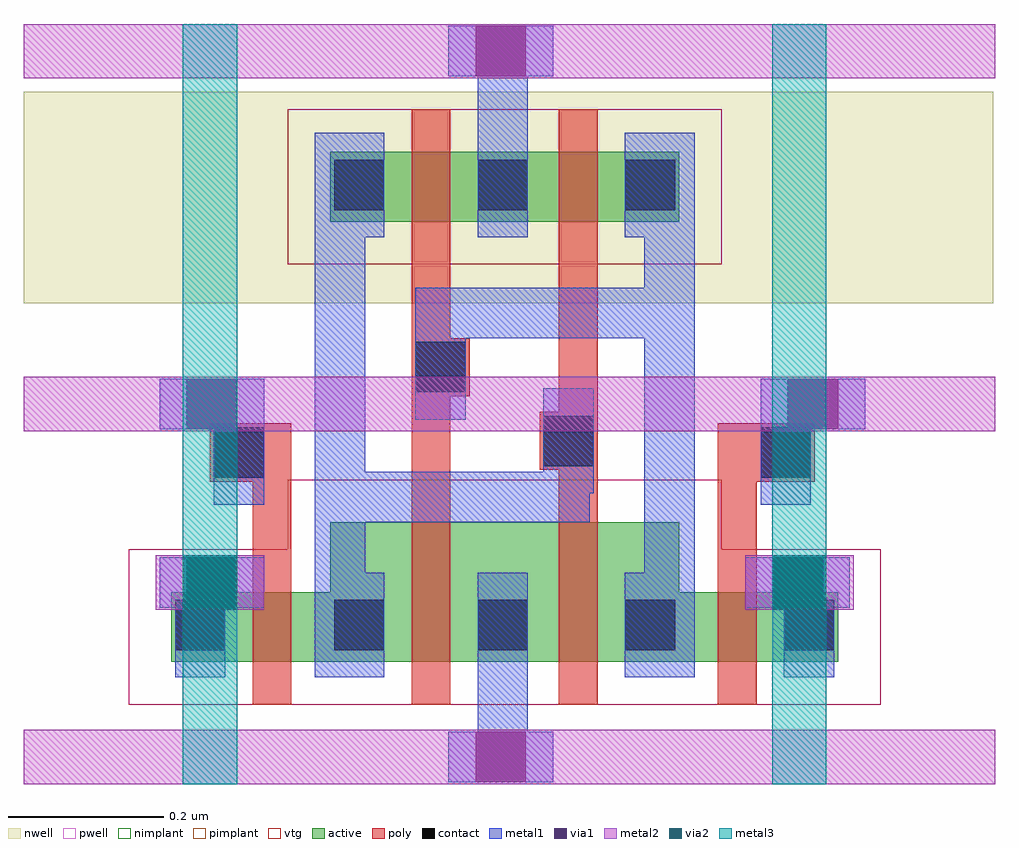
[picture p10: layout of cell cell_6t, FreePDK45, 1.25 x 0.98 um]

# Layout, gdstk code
from math import pi, radians
import gdstk
lib = gdstk.Library(unit=1e-6, precision=5e-10)
def R(c, l, rs):  # rectangles x0, y0, x1, y1
    for r in rs: c.add(gdstk.rectangle(r[:2], r[2:], *l))
def A(c, l, x, y, w, h, nx, ny, dx, dy):  # array of equal rectangles
    R(c, l, [(x+i*dx, y+j*dy, x+i*dx+w, y+j*dy+h) for i in range(nx) for j in range(ny)])
active = (1, 0)
pwell = (2, 0)
nwell = (3, 0)
nimplant = (4, 0)
pimplant = (5, 0)
vtg = (6, 0)
poly = (9, 0)
contact = (10, 0)
metal1 = (11, 0)
via1 = (12, 0)
metal2 = (13, 0)
via2 = (14, 0)
metal3 = (15, 0)

dcont_25 = lib.new_cell('dcont_25')
R(dcont_25, active, [(-0.0375,0.03,0.0375,0.105)])
R(dcont_25, contact, [(-0.0325,0.035,0.0325,0.1)])
R(dcont_25, metal1, [(-0.0325,0,0.0325,0.135)])

pmos_vtg_13 = lib.new_cell('pmos_vtg_13')
R(pmos_vtg_13, active, [(-0.07,0,0.155,0.09), (-0.07,0,0,0.09), (0.08,0,0.155,0.09), (0.08,0.01,0.155,0.085)])
R(pmos_vtg_13, nwell, [(-0.125,-0.055,0.21,0.145)])
R(pmos_vtg_13, pimplant, [(-0.07,0,0.155,0.09)])
R(pmos_vtg_13, vtg, [(-0.125,-0.055,0.21,0.145)])
R(pmos_vtg_13, poly, [(0,-0.055,0.05,0), (0,-0.055,0.05,0.145), (0,0.09,0.05,0.145)])
pmos_vtg_13.add(gdstk.Reference(dcont_25, (0.1175,-0.02)))
pmos_vtg_13.add(gdstk.Label('l = 0.05', (0.06,0.045), layer=239, texttype=0))
pmos_vtg_13.add(gdstk.Label('w = 0.09', (0.025,0.155), layer=239, texttype=0))

nmos_vtg_14 = lib.new_cell('nmos_vtg_14')
R(nmos_vtg_14, active, [(-0.07,0,0.155,0.09), (-0.07,0,0,0.09), (0.08,0,0.155,0.09), (0.08,0.01,0.155,0.085)])
R(nmos_vtg_14, pwell, [(-0.125,-0.055,0.21,0.145)])
R(nmos_vtg_14, nimplant, [(-0.07,0,0.155,0.09)])
R(nmos_vtg_14, vtg, [(-0.125,-0.055,0.21,0.145)])
R(nmos_vtg_14, poly, [(0,-0.055,0.05,0), (0,-0.055,0.05,0.145), (0,0.09,0.05,0.145)])
nmos_vtg_14.add(gdstk.Reference(dcont_25, (0.1175,-0.02)))
nmos_vtg_14.add(gdstk.Label('l = 0.05', (0.06,0.045), layer=239, texttype=0))
nmos_vtg_14.add(gdstk.Label('w = 0.09', (0.025,0.155), layer=239, texttype=0))

nmos_vtg_15 = lib.new_cell('nmos_vtg_15')
R(nmos_vtg_15, active, [(-0.07,0,0.155,0.18), (-0.07,0,0,0.18), (0.08,0,0.155,0.18), (0.08,0.01,0.155,0.085)])
R(nmos_vtg_15, pwell, [(-0.125,-0.055,0.21,0.235)])
R(nmos_vtg_15, nimplant, [(-0.07,0,0.155,0.18)])
R(nmos_vtg_15, vtg, [(-0.125,-0.055,0.21,0.235)])
R(nmos_vtg_15, poly, [(0,-0.055,0.05,0), (0,-0.055,0.05,0.235), (0,0.18,0.05,0.235)])
nmos_vtg_15.add(gdstk.Reference(dcont_25, (0.1175,-0.02)))
nmos_vtg_15.add(gdstk.Label('l = 0.05', (0.06,0.09), layer=239, texttype=0))
nmos_vtg_15.add(gdstk.Label('w = 0.18', (0.025,0.245), layer=239, texttype=0))

pcont_2 = lib.new_cell('pcont_2')
R(pcont_2, poly, [(-0.0375,-0.0375,0.0375,0.0375)])
R(pcont_2, contact, [(-0.0325,-0.0325,0.0325,0.0325)])
R(pcont_2, metal1, [(-0.0325,-0.0675,0.0325,0.0675)])

m2_m1_viab = lib.new_cell('M2_M1_viaB')
R(m2_m1_viab, metal1, [(-0.0675,-0.0325,0.0675,0.0325)])
R(m2_m1_viab, via1, [(-0.0325,-0.0325,0.0325,0.0325)])
R(m2_m1_viab, metal2, [(-0.0675,-0.035,0.0675,0.035)])

nmos_vtg_3 = lib.new_cell('nmos_vtg_3')
R(nmos_vtg_3, active, [(-0.105,0,0.155,0.18), (-0.105,0,-0.03,0.18), (0.08,0,0.155,0.18), (-0.105,0.01,-0.03,0.085), (0.08,0.01,0.155,0.085)])
R(nmos_vtg_3, pwell, [(-0.16,-0.055,0.21,0.235)])
R(nmos_vtg_3, nimplant, [(-0.105,0,0.155,0.18)])
R(nmos_vtg_3, vtg, [(-0.16,-0.055,0.21,0.235)])
R(nmos_vtg_3, poly, [(0,-0.055,0.05,0), (0,-0.055,0.05,0.235), (0,0.18,0.05,0.235)])
nmos_vtg_3.add(gdstk.Reference(dcont_25, (0.1175,-0.02)))
nmos_vtg_3.add(gdstk.Reference(dcont_25, (-0.0675,-0.02)))
nmos_vtg_3.add(gdstk.Label('l = 0.05', (0.06,0.09), layer=239, texttype=0))
nmos_vtg_3.add(gdstk.Label('w = 0.18', (0.025,0.245), layer=239, texttype=0))

m3_m2_via = lib.new_cell('M3_M2_via')
R(m3_m2_via, metal2, [(-0.035,-0.07,0.035,0.07)])
R(m3_m2_via, via2, [(-0.035,-0.035,0.035,0.035)])
R(m3_m2_via, metal3, [(-0.07,-0.035,0.07,0.035)])

nmos_vtg_16 = lib.new_cell('nmos_vtg_16')
R(nmos_vtg_16, active, [(-0.105,0,0.12,0.09), (-0.105,0,-0.03,0.09), (0.05,0,0.12,0.09), (-0.105,0.01,-0.03,0.085)])
R(nmos_vtg_16, pwell, [(-0.16,-0.055,0.175,0.145)])
R(nmos_vtg_16, nimplant, [(-0.105,0,0.12,0.09)])
R(nmos_vtg_16, vtg, [(-0.16,-0.055,0.175,0.145)])
R(nmos_vtg_16, poly, [(0,-0.055,0.05,0), (0,-0.055,0.05,0.145), (0,0.09,0.05,0.145)])
nmos_vtg_16.add(gdstk.Reference(dcont_25, (-0.0675,-0.02)))
nmos_vtg_16.add(gdstk.Label('l = 0.05', (0.06,0.045), layer=239, texttype=0))
nmos_vtg_16.add(gdstk.Label('w = 0.09', (0.025,0.155), layer=239, texttype=0))

pmos_vtg_17 = lib.new_cell('pmos_vtg_17')
R(pmos_vtg_17, active, [(-0.105,0,0.155,0.09), (-0.105,0,-0.03,0.09), (0.08,0,0.155,0.09), (-0.105,0.01,-0.03,0.085), (0.08,0.01,0.155,0.085)])
R(pmos_vtg_17, nwell, [(-0.16,-0.055,0.21,0.145)])
R(pmos_vtg_17, pimplant, [(-0.105,0,0.155,0.09)])
R(pmos_vtg_17, vtg, [(-0.16,-0.055,0.21,0.145)])
R(pmos_vtg_17, poly, [(0,-0.055,0.05,0), (0,-0.055,0.05,0.145), (0,0.09,0.05,0.145)])
pmos_vtg_17.add(gdstk.Reference(dcont_25, (0.1175,-0.02)))
pmos_vtg_17.add(gdstk.Reference(dcont_25, (-0.0675,-0.02)))
pmos_vtg_17.add(gdstk.Label('l = 0.05', (0.06,0.045), layer=239, texttype=0))
pmos_vtg_17.add(gdstk.Label('w = 0.09', (0.025,0.155), layer=239, texttype=0))

cell_6t = lib.new_cell('cell_6t')
R(cell_6t, nwell, [(0,0.585,1.25,0.8575)])
R(cell_6t, poly, [(0.295,0.2575,0.345,0.43), (0.895,0.2575,0.945,0.43), (0.5,0.33,0.55,0.6575), (0.69,0.3375,0.74,0.6575)])
R(cell_6t, metal1, [(0.585,-0.0325,0.65,0.1075), (0.375,0.1025,0.44,0.805), (0.8,0.1025,0.865,0.805), (0.395,0.3025,0.73,0.3675), (0.505,0.54,0.8475,0.605), (0.585,0.8,0.65,0.9425)])
A(cell_6t, metal2, 0, -0.035, 1.2525, 0.07, 1, 3, 0, 0.455)
R(cell_6t, metal3, [(0.205,-0.035,0.275,0.945), (0.965,-0.035,1.035,0.945)])
cell_6t.add(gdstk.Reference(pmos_vtg_13, (0.69,0.69)))
cell_6t.add(gdstk.Reference(nmos_vtg_14, (0.895,0.1225)))
cell_6t.add(gdstk.Reference(nmos_vtg_15, (0.69,0.1225)))
cell_6t.add(gdstk.Reference(pcont_2, (0.9825,0.3925), rotation=pi, x_reflection=True))
cell_6t.add(gdstk.Reference(pcont_2, (0.5375,0.5025)))
cell_6t.add(gdstk.Reference(pcont_2, (0.7025,0.4075)))
cell_6t.add(gdstk.Reference(pcont_2, (0.2775,0.3925)))
cell_6t.add(gdstk.Reference(m2_m1_viab, (0.9975,0.225)))
cell_6t.add(gdstk.Reference(m2_m1_viab, (0.2425,0.225)))
cell_6t.add(gdstk.Reference(m2_m1_viab, (1.0175,0.455), rotation=pi, x_reflection=True))
cell_6t.add(gdstk.Reference(m2_m1_viab, (0.615,0)))
cell_6t.add(gdstk.Reference(m2_m1_viab, (0.615,0.91)))
cell_6t.add(gdstk.Reference(m2_m1_viab, (0.2425,0.455)))
cell_6t.add(gdstk.Reference(nmos_vtg_3, (0.5,0.1225)))
cell_6t.add(gdstk.Reference(m3_m2_via, (1,0.225), rotation=pi/2))
cell_6t.add(gdstk.Reference(m3_m2_via, (0.24,0.225), rotation=pi/2))
cell_6t.add(gdstk.Reference(nmos_vtg_16, (0.295,0.1225)))
cell_6t.add(gdstk.Reference(pmos_vtg_17, (0.5,0.69)))

lib.write_gds('cell_6t.gds')
